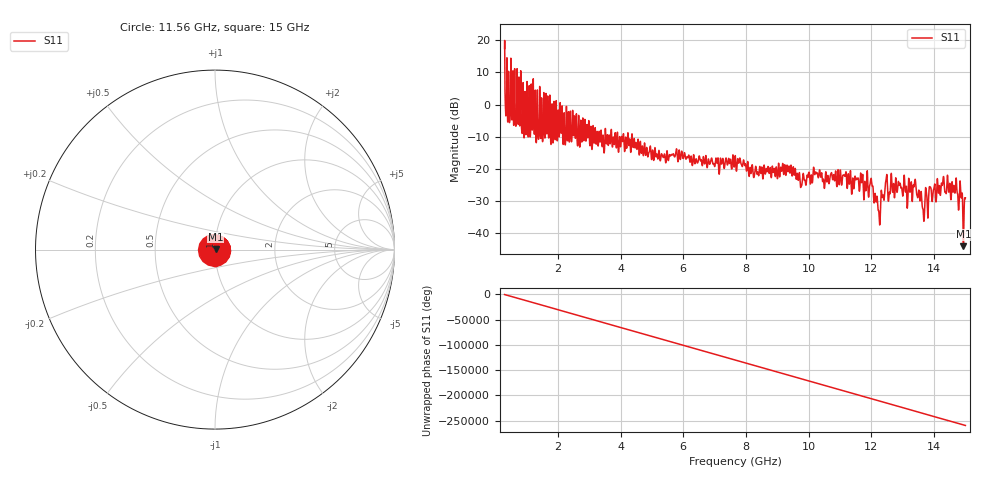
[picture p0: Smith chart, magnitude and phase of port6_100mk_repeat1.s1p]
# GHZ S RI R 50.0
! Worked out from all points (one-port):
!   12801 points, 300 MHz to 15 GHz, reference 50 ohm
!   lowest |S11| = -44.0 dB at 14.94 GHz (marker M1), VSWR 1.01, Z = 50.5 + j0.402 ohm
!   |S11| at or under -10 dB: 4.099 GHz to 4.222 GHz (122.1 MHz wide, 2.94 % of centre); 4.243 GHz to 4.356 GHz (112.3 MHz wide, 2.61 % of centre); 4.373 GHz to end of sweep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
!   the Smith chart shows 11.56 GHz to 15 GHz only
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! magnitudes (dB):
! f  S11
! 300 MHz  17.4
! 401.1 MHz  -5.4
! 755.9 MHz  8.5
! 914.4 MHz  -9.7
! 1.212 GHz  7.1
! 1.321 GHz  -10.4
! 2.138 GHz  -1.6
! 2.229 GHz  -12.4
! 2.529 GHz  -3.7
! 2.686 GHz  -12.4
! 3.975 GHz  -10.5
! 5.812 GHz  -16.6
! 7.65 GHz  -16.5
! 8.295 GHz  -19.9
! 9.488 GHz  -21.4
! 9.729 GHz  -24.4
! 10.21 GHz  -21.1
! 11.32 GHz  -21.3
! 12 GHz  -23.2
! 12.23 GHz  -33.0
! 12.45 GHz  -24.5
! 13.16 GHz  -29.8
! 13.39 GHz  -23.3
! 13.63 GHz  -32.2
! 14.25 GHz  -24.8
! 14.64 GHz  -26.4
! 14.94 GHz  -44.0
! 15 GHz  -29.0
